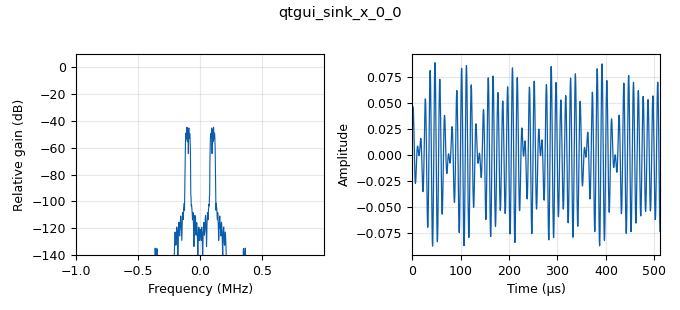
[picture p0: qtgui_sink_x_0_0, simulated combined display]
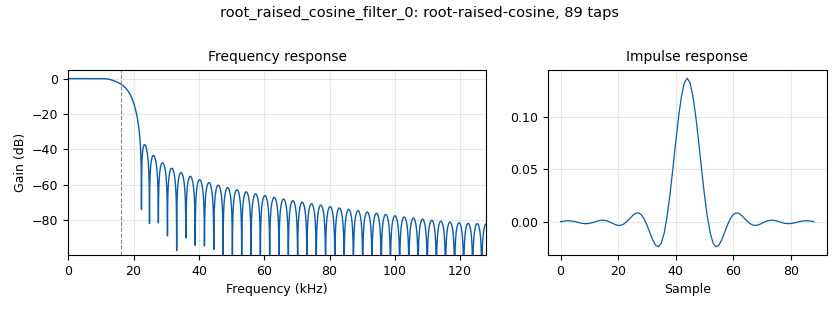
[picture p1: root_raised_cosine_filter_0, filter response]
options:
  parameters:
    generate_options: qt_gui
    id: lab81
    output_language: python
    title: lab81
  states: {}

blocks:
- name: alpha
  id: variable_qtgui_range
  parameters:
    label: alpha
    start: '0'
    step: '0.001'
    stop: '1'
    value: '0.35'
  states: {}
- name: amp
  id: variable_qtgui_range
  parameters:
    label: amp
    start: '0'
    step: '0.001'
    stop: '1'
    value: '0.5'
  states: {}
- name: sps
  id: variable_qtgui_range
  parameters:
    label: sps
    rangeType: int
    start: '0'
    step: '1'
    stop: '16'
    value: '8'
  states: {}
- name: sym_rate
  id: variable_qtgui_range
  parameters:
    label: sym_rate
    rangeType: int
    start: '1600'
    step: '1'
    stop: '160000'
    value: '32000'
  states: {}
- name: analog_noise_source_x_0
  id: analog_noise_source_x
  parameters:
    amp: amp
    noise_type: analog.GR_GAUSSIAN
    seed: '0'
    type: float
  states: {state: disabled}
- name: analog_random_source_x_0
  id: analog_random_source_x
  parameters:
    max: '2'
    min: '0'
    num_samps: '1000'
    repeat: 'True'
    type: byte
  states: {}
- name: analog_sig_source_x_0
  id: analog_sig_source_x
  parameters:
    amp: '1'
    freq: '100000'
    offset: '0'
    phase: '0'
    samp_rate: '2000000'
    type: complex
    waveform: analog.GR_COS_WAVE
  states: {}
- name: blocks_add_xx_0
  id: blocks_add_xx
  parameters:
    type: float
  states: {state: disabled}
- name: blocks_complex_to_real_0
  id: blocks_complex_to_real
  parameters: {}
  states: {}
- name: blocks_multiply_xx_0
  id: blocks_multiply_xx
  parameters:
    type: complex
  states: {}
- name: blocks_throttle_0
  id: blocks_throttle
  parameters:
    samples_per_second: sym_rate*sps
    type: complex
  states: {state: disabled}
- name: blocks_throttle_0_0
  id: blocks_throttle
  parameters:
    samples_per_second: '2000000'
    type: float
  states: {}
- name: digital_chunks_to_symbols_xx_0
  id: digital_chunks_to_symbols_xx
  parameters:
    dimension: '1'
    in_type: byte
    out_type: complex
    symbol_table: (-0.5, 0.5)
  states: {}
- name: interp_fir_filter_xxx_0
  id: interp_fir_filter_xxx
  parameters:
    interp: sps
    taps: '1'
    type: ccc
  states: {}
- name: qtgui_sink_x_0
  id: qtgui_sink_x
  parameters:
    bw: sym_rate*sps
    fc: '0'
    fftsize: '1024'
    type: complex
  states: {state: disabled}
- name: qtgui_sink_x_0_0
  id: qtgui_sink_x
  parameters:
    bw: '2000000'
    fc: '0'
    fftsize: '1024'
    type: float
  states: {}
- name: rational_resampler_xxx_0
  id: rational_resampler_xxx
  parameters:
    decim: sym_rate*sps
    interp: '2000000'
    type: ccc
  states: {}
- name: root_raised_cosine_filter_0
  id: root_raised_cosine_filter
  parameters:
    alpha: alpha
    gain: '1'
    interp: '1'
    ntaps: 11*sps
    samp_rate: sym_rate*sps
    sym_rate: sym_rate
    type: interp_fir_filter_ccf
  states: {}

connections:
- [analog_noise_source_x_0, '0', blocks_add_xx_0, '0']
- [analog_random_source_x_0, '0', digital_chunks_to_symbols_xx_0, '0']
- [analog_sig_source_x_0, '0', blocks_multiply_xx_0, '1']
- [blocks_add_xx_0, '0', blocks_throttle_0_0, '0']
- [blocks_complex_to_real_0, '0', blocks_add_xx_0, '1']
- [blocks_complex_to_real_0, '0', blocks_throttle_0_0, '0']
- [blocks_multiply_xx_0, '0', blocks_complex_to_real_0, '0']
- [blocks_throttle_0, '0', qtgui_sink_x_0, '0']
- [blocks_throttle_0_0, '0', qtgui_sink_x_0_0, '0']
- [digital_chunks_to_symbols_xx_0, '0', interp_fir_filter_xxx_0, '0']
- [interp_fir_filter_xxx_0, '0', root_raised_cosine_filter_0, '0']
- [rational_resampler_xxx_0, '0', blocks_multiply_xx_0, '0']
- [root_raised_cosine_filter_0, '0', blocks_throttle_0, '0']
- [root_raised_cosine_filter_0, '0', rational_resampler_xxx_0, '0']

metadata:
  file_format: 1
